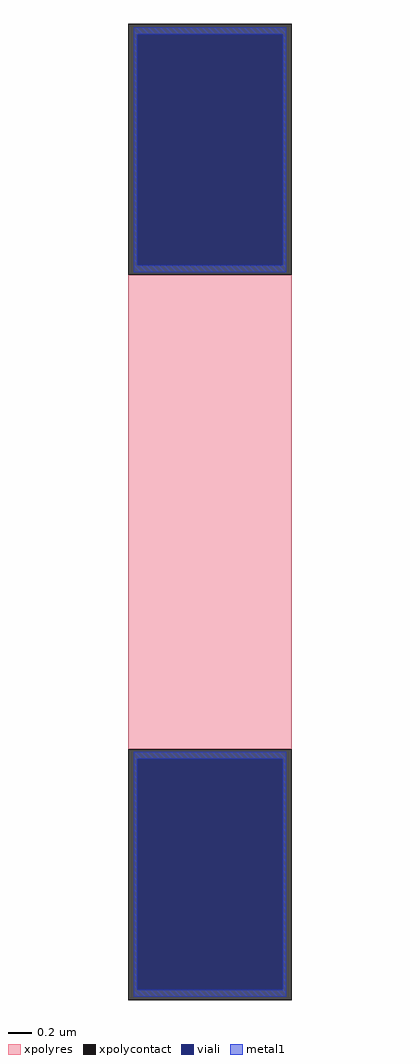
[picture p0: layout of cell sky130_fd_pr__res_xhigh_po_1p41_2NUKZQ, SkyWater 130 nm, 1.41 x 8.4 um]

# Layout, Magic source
magic
tech sky130A
magscale 1 2
<< xpolycontact >>
rect -141 408 141 840
rect -141 -840 141 -408
<< xpolyres >>
rect -141 -408 141 408
<< viali >>
rect -125 425 125 822
rect -125 -822 125 -425
<< metal1 >>
rect -131 822 131 834
rect -131 425 -125 822
rect 125 425 131 822
rect -131 413 131 425
rect -131 -425 131 -413
rect -131 -822 -125 -425
rect 125 -822 131 -425
rect -131 -834 131 -822
<< properties >>
string gencell sky130_fd_pr__res_xhigh_po_1p41
string library sky130
string parameters w 1.410 l 4.244 m 1 nx 1 wmin 1.410 lmin 0.50 rho 2000 val 6.286k dummy 0 dw 0.0 term 188.2 sterm 0.0 caplen 0 wmax 1.410 guard 0 glc 1 grc 1 gtc 1 gbc 1 compatible {sky130_fd_pr__res_xhigh_po_0p35  sky130_fd_pr__res_xhigh_po_0p69 sky130_fd_pr__res_xhigh_po_1p41  sky130_fd_pr__res_xhigh_po_2p85 sky130_fd_pr__res_xhigh_po_5p73} snake 0 full_metal 1 n_guard 0 hv_guard 0 vias 1 viagb 0 viagt 0 viagl 0 viagr 0
<< end >>
